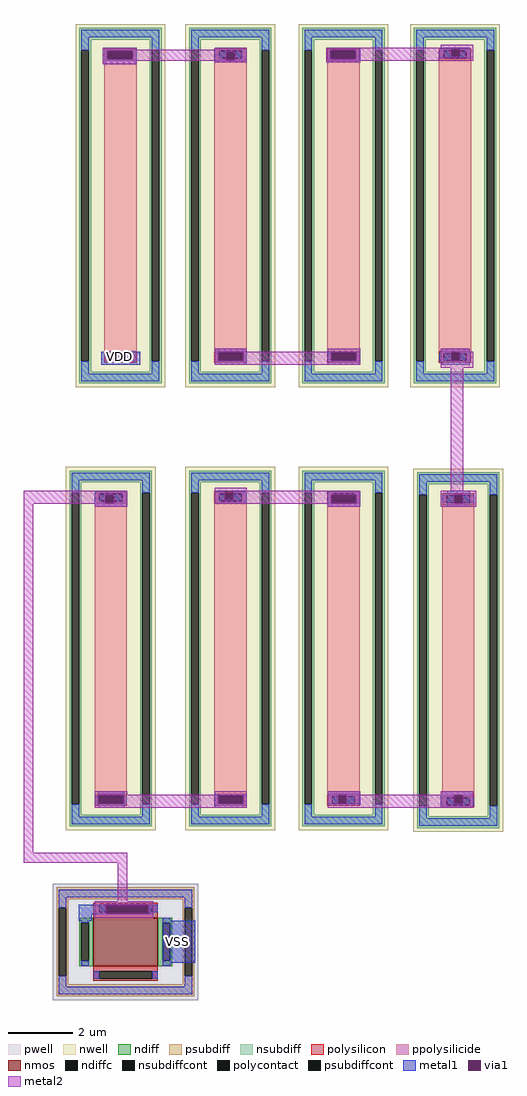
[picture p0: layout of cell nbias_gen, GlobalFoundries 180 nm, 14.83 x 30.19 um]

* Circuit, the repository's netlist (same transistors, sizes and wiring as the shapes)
* NGSPICE file created from nbias_gen.ext - technology: gf180mcuD

.subckt ppolyf_s_YY86ER a_n100_900# w_n278_n1124# a_n100_n972#
X0 a_n100_900# a_n100_n972# w_n278_n1124# ppolyf_s r_width=1u r_length=9u
.ends

.subckt nfet_03v3_3RQB8F a_n426_n336# a_n288_n150# a_200_n150# a_n200_n242#
X0 a_200_n150# a_n200_n242# a_n288_n150# a_n426_n336# nfet_03v3 ad=0.66p pd=3.88u as=0.66p ps=3.88u w=1.5u l=2u
.ends

.subckt nbias_gen
Xppolyf_s_YY86ER_0 m1_570_3480# ppolyf_s_YY86ER_0/w_n278_n1124# VDD ppolyf_s_YY86ER
Xppolyf_s_YY86ER_1 m1_570_3480# ppolyf_s_YY86ER_1/w_n278_n1124# m1_1260_1620# ppolyf_s_YY86ER
Xppolyf_s_YY86ER_2 m1_1950_3490# ppolyf_s_YY86ER_2/w_n278_n1124# m1_1260_1620# ppolyf_s_YY86ER
Xppolyf_s_YY86ER_3 m1_1950_3490# w_2720_1580# m1_2660_1620# ppolyf_s_YY86ER
Xppolyf_s_YY86ER_4 m1_2660_1620# ppolyf_s_YY86ER_4/w_n278_n1124# m1_1960_n1100# ppolyf_s_YY86ER
Xppolyf_s_YY86ER_5 m1_1260_760# ppolyf_s_YY86ER_5/w_n278_n1124# m1_1960_n1100# ppolyf_s_YY86ER
Xppolyf_s_YY86ER_6 m1_1260_760# ppolyf_s_YY86ER_6/w_n278_n1124# m1_540_n1120# ppolyf_s_YY86ER
Xppolyf_s_YY86ER_7 m1_420_n1820# ppolyf_s_YY86ER_7/w_n278_n1124# m1_540_n1120# ppolyf_s_YY86ER
Xnfet_03v3_3RQB8F_0 VSS m1_420_n1820# VSS m1_420_n1820# nfet_03v3_3RQB8F
.ends

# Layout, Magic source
magic
tech gf180mcuD
magscale 1 10
<< nwell >>
rect 2720 1580 2800 1600
<< metal1 >>
rect 570 3561 780 3580
rect 570 3509 597 3561
rect 753 3509 780 3561
rect 570 3480 780 3509
rect 1260 3556 1460 3580
rect 1260 3504 1334 3556
rect 1386 3504 1460 3556
rect 1260 3490 1460 3504
rect 1950 3566 2160 3580
rect 1950 3514 1977 3566
rect 2133 3514 2160 3566
rect 2660 3576 2840 3580
rect 2660 3524 2724 3576
rect 2776 3524 2840 3576
rect 2660 3520 2840 3524
rect 1950 3490 2160 3514
rect 560 1620 800 1700
rect 1260 1696 1460 1720
rect 1260 1644 1282 1696
rect 1438 1644 1460 1696
rect 1260 1620 1460 1644
rect 1960 1696 2160 1700
rect 1960 1644 1982 1696
rect 2138 1644 2160 1696
rect 1960 1620 2160 1644
rect 2660 1696 2840 1720
rect 2660 1644 2724 1696
rect 2776 1644 2840 1696
rect 2660 1620 2840 1644
rect 520 816 720 840
rect 520 764 584 816
rect 636 764 720 816
rect 520 740 720 764
rect 1260 836 1460 840
rect 1260 784 1324 836
rect 1376 784 1460 836
rect 1260 760 1460 784
rect 1960 816 2160 840
rect 1960 764 1982 816
rect 2138 764 2160 816
rect 1960 740 2160 764
rect 2700 816 2840 840
rect 2700 764 2744 816
rect 2796 764 2840 816
rect 2700 740 2840 764
rect 540 -1044 700 -1020
rect 540 -1096 542 -1044
rect 698 -1096 700 -1044
rect 540 -1120 700 -1096
rect 1260 -1044 1460 -1040
rect 1260 -1096 1282 -1044
rect 1438 -1096 1460 -1044
rect 1260 -1120 1460 -1096
rect 1960 -1044 2160 -1020
rect 1960 -1096 2024 -1044
rect 2076 -1096 2160 -1044
rect 1960 -1100 2160 -1096
rect 2660 -1044 2860 -1020
rect 2660 -1096 2744 -1044
rect 2796 -1096 2860 -1044
rect 2660 -1120 2860 -1096
rect 420 -1724 880 -1720
rect 420 -1776 590 -1724
rect 850 -1776 880 -1724
rect 420 -1780 880 -1776
rect 420 -1820 500 -1780
rect 940 -2080 1140 -1820
<< via1 >>
rect 597 3509 753 3561
rect 1334 3504 1386 3556
rect 1977 3514 2133 3566
rect 2724 3524 2776 3576
rect 1282 1644 1438 1696
rect 1982 1644 2138 1696
rect 2724 1644 2776 1696
rect 584 764 636 816
rect 1324 784 1376 836
rect 1982 764 2138 816
rect 2744 764 2796 816
rect 542 -1096 698 -1044
rect 1282 -1096 1438 -1044
rect 2024 -1096 2076 -1044
rect 2744 -1096 2796 -1044
rect 590 -1776 850 -1724
<< metal2 >>
rect 2660 3580 2860 3600
rect 570 3570 780 3580
rect 1260 3570 1460 3580
rect 570 3561 1460 3570
rect 570 3509 597 3561
rect 753 3556 1460 3561
rect 753 3509 1334 3556
rect 570 3504 1334 3509
rect 1386 3504 1460 3556
rect 570 3500 1460 3504
rect 570 3480 780 3500
rect 1260 3490 1460 3500
rect 1950 3576 2860 3580
rect 1950 3566 2724 3576
rect 1950 3514 1977 3566
rect 2133 3524 2724 3566
rect 2776 3524 2860 3576
rect 2133 3514 2860 3524
rect 1950 3500 2860 3514
rect 1950 3490 2160 3500
rect 1260 1700 1460 1720
rect 1960 1700 2160 1720
rect 1260 1696 2160 1700
rect 1260 1644 1282 1696
rect 1438 1644 1982 1696
rect 2138 1644 2160 1696
rect 1260 1620 2160 1644
rect 2660 1700 2840 1720
rect 2660 1696 2860 1700
rect 2660 1644 2724 1696
rect 2776 1644 2860 1696
rect 2660 1600 2860 1644
rect 1260 840 1460 860
rect 2720 840 2800 1600
rect 80 816 720 840
rect 80 764 584 816
rect 636 764 720 816
rect 80 760 720 764
rect 1260 836 2160 840
rect 1260 784 1324 836
rect 1376 816 2160 836
rect 1376 784 1982 816
rect 1260 764 1982 784
rect 2138 764 2160 816
rect 1260 760 2160 764
rect 80 -1400 140 760
rect 520 740 720 760
rect 1960 740 2160 760
rect 2660 816 2880 840
rect 2660 764 2744 816
rect 2796 764 2880 816
rect 2660 740 2880 764
rect 520 -1040 720 -1020
rect 1260 -1040 1460 -1020
rect 520 -1044 1460 -1040
rect 520 -1096 542 -1044
rect 698 -1096 1282 -1044
rect 1438 -1096 1460 -1044
rect 520 -1120 1460 -1096
rect 1960 -1040 2160 -1020
rect 2660 -1040 2860 -1020
rect 1960 -1044 2860 -1040
rect 1960 -1096 2024 -1044
rect 2076 -1096 2744 -1044
rect 2796 -1096 2860 -1044
rect 1960 -1120 2860 -1096
rect 80 -1460 720 -1400
rect 660 -1700 720 -1460
rect 520 -1724 880 -1700
rect 520 -1776 590 -1724
rect 850 -1776 880 -1724
rect 520 -1800 880 -1776
use nfet_03v3_3RQB8F  nfet_03v3_3RQB8F_0
transform 1 0 710 0 1 -1950
box -450 -360 450 360
use ppolyf_s_YY86ER  ppolyf_s_YY86ER_0
transform 1 0 678 0 1 2604
box -278 -1124 278 1124
use ppolyf_s_YY86ER  ppolyf_s_YY86ER_1
transform 1 0 1358 0 1 2604
box -278 -1124 278 1124
use ppolyf_s_YY86ER  ppolyf_s_YY86ER_2
transform 1 0 2058 0 1 2604
box -278 -1124 278 1124
use ppolyf_s_YY86ER  ppolyf_s_YY86ER_3
transform 1 0 2748 0 1 2604
box -278 -1124 278 1124
use ppolyf_s_YY86ER  ppolyf_s_YY86ER_4
transform 1 0 2768 0 1 -146
box -278 -1124 278 1124
use ppolyf_s_YY86ER  ppolyf_s_YY86ER_5
transform 1 0 2058 0 1 -136
box -278 -1124 278 1124
use ppolyf_s_YY86ER  ppolyf_s_YY86ER_6
transform 1 0 1358 0 1 -136
box -278 -1124 278 1124
use ppolyf_s_YY86ER  ppolyf_s_YY86ER_7
transform 1 0 618 0 1 -136
box -278 -1124 278 1124
<< labels >>
rlabel metal1 1030 -1950 1030 -1950 4 VSS
rlabel metal1 670 1670 670 1670 4 VDD
<< end >>

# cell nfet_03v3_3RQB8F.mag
magic
tech gf180mcuD
magscale 1 10
<< pwell >>
rect -450 -360 450 360
<< nmos >>
rect -200 -150 200 150
<< ndiff >>
rect -288 117 -200 150
rect -288 -117 -275 117
rect -229 -117 -200 117
rect -288 -150 -200 -117
rect 200 117 288 150
rect 200 -117 229 117
rect 275 -117 288 117
rect 200 -150 288 -117
<< ndiffc >>
rect -275 -117 -229 117
rect 229 -117 275 117
<< psubdiff >>
rect -426 264 426 336
rect -426 211 -354 264
rect -426 -211 -413 211
rect -367 -211 -354 211
rect 354 211 426 264
rect -426 -264 -354 -211
rect 354 -211 367 211
rect 413 -211 426 211
rect 354 -264 426 -211
rect -426 -336 426 -264
<< psubdiffcont >>
rect -413 -211 -367 211
rect 367 -211 413 211
<< polysilicon >>
rect -200 229 200 242
rect -200 183 -164 229
rect 164 183 200 229
rect -200 150 200 183
rect -200 -183 200 -150
rect -200 -229 -164 -183
rect 164 -229 200 -183
rect -200 -242 200 -229
<< polycontact >>
rect -164 183 164 229
rect -164 -229 164 -183
<< metal1 >>
rect -413 277 413 323
rect -413 211 -367 277
rect -198 183 -164 229
rect 164 183 198 229
rect 367 211 413 277
rect -275 117 -229 148
rect -275 -148 -229 -117
rect 229 117 275 148
rect 229 -148 275 -117
rect -413 -277 -367 -211
rect -198 -229 -164 -183
rect 164 -229 198 -183
rect 367 -277 413 -211
rect -413 -323 413 -277
<< properties >>
string FIXED_BBOX -390 -300 390 300
<< end >>

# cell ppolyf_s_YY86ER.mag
magic
tech gf180mcuD
magscale 1 10
<< nwell >>
rect -278 -1124 278 1124
<< nsubdiff >>
rect -254 1028 254 1100
rect -254 963 -182 1028
rect -254 -963 -241 963
rect -195 -963 -182 963
rect -254 -1028 -182 -963
rect 182 963 254 1028
rect 182 -963 195 963
rect 241 -963 254 963
rect 182 -1028 254 -963
rect -254 -1100 254 -1028
<< nsubdiffcont >>
rect -241 -963 -195 963
rect 195 -963 241 963
<< polysilicon >>
rect -100 959 100 972
rect -100 913 -70 959
rect 70 913 100 959
rect -100 900 100 913
rect -100 -913 100 -900
rect -100 -959 -70 -913
rect 70 -959 100 -913
rect -100 -972 100 -959
<< polycontact >>
rect -70 913 70 959
rect -70 -959 70 -913
<< ppolysilicide >>
rect -100 -900 100 900
<< metal1 >>
rect -241 1041 241 1087
rect -241 963 -195 1041
rect 195 963 241 1041
rect -98 913 -70 959
rect 70 913 98 959
rect -98 -959 -70 -913
rect 70 -959 98 -913
rect -241 -1041 -195 -963
rect 195 -1041 241 -963
rect -241 -1087 241 -1041
<< properties >>
string FIXED_BBOX -218 -1064 218 1064
<< end >>
